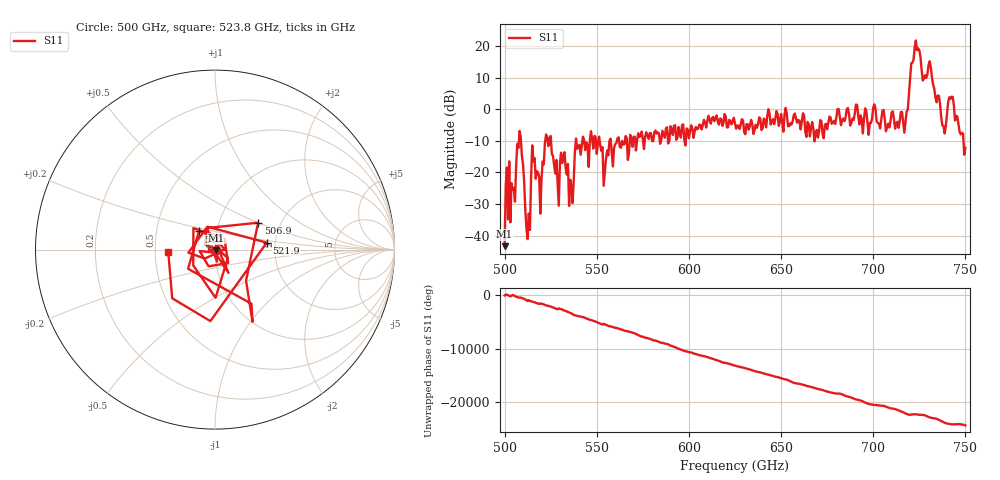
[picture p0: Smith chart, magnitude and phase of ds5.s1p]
# GHz S RI R 50
!freq	ReS11	ImS11
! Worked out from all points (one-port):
!   401 points, 500 GHz to 750 GHz, reference 50 ohm
!   lowest |S11| = -43.3 dB at 500 GHz (marker M1), VSWR 1.01, Z = 50.7 - j0.16 ohm
!   |S11| at or under -10 dB: start of sweep to 507.8 GHz; 508.9 GHz to 522 GHz (13.16 GHz wide, 2.55 % of centre); 525.2 GHz to 538.6 GHz (13.46 GHz wide, 2.53 % of centre) (the widest 3 of 21)
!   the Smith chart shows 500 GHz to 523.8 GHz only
!   S11 on the Smith chart (normalised r, x): 500 GHz: 1.01, -0.00; 506.9 GHz: 1.53, +0.50; 510 GHz: 0.82, +0.17; 521.9 GHz: 1.80, +0.15; 523.8 GHz: 0.59, -0.01
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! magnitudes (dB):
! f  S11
! 500 GHz  -43.3
! 501.9 GHz  -34.8
! 504.4 GHz  -25.4
! 506.9 GHz  -11.0
! 508.1 GHz  -6.9
! 510 GHz  -17.4
! 512.5 GHz  -41.0
! 515.6 GHz  -16.5
! 518.8 GHz  -21.3
! 521.9 GHz  -10.7
! 523.8 GHz  -11.7
! 528.1 GHz  -16.0
! 531.2 GHz  -17.0
! 536.2 GHz  -24.6
! 539.4 GHz  -12.5
! 548.1 GHz  -12.4
! 555 GHz  -15.7
! 562.5 GHz  -11.9
! 593.8 GHz  -9.0
! 625 GHz  -4.6
! 656.2 GHz  -3.9
! 687.5 GHz  -5.2
! 713.1 GHz  -4.0
! 718.8 GHz  -0.1
! 723.8 GHz  18.6
! 738.1 GHz  -5.3
! 742.5 GHz  4.0
! 750 GHz  -12.2
